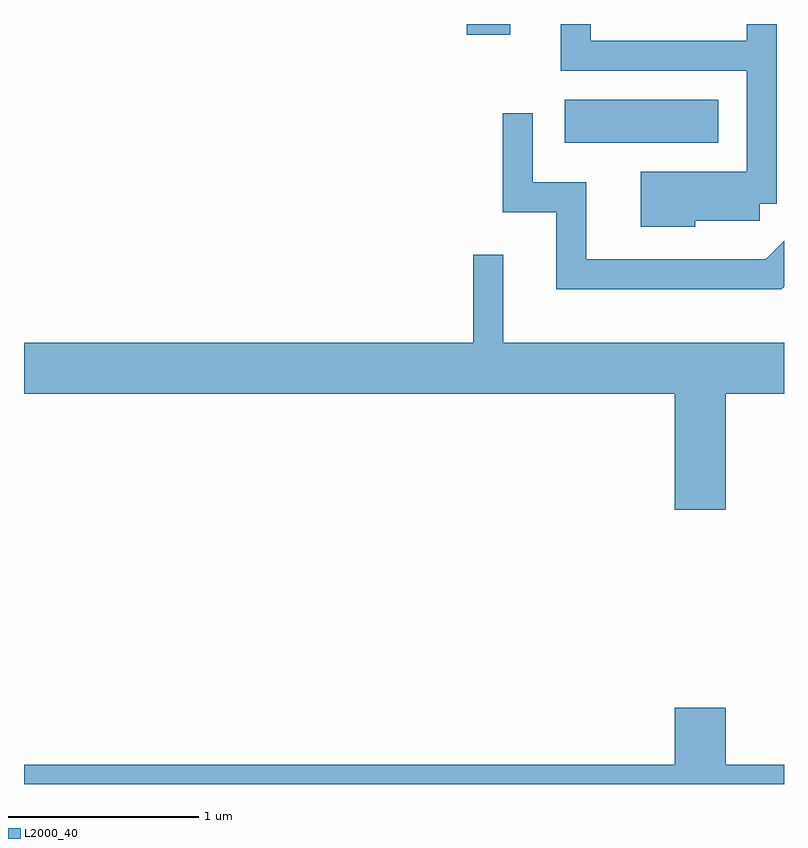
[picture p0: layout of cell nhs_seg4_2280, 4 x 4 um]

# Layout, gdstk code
import gdstk
lib = gdstk.Library(unit=1e-6, precision=1e-09)
def R(c, l, rs):  # rectangles x0, y0, x1, y1
    for r in rs: c.add(gdstk.rectangle(r[:2], r[2:], *l))
def P(c, l, *ps):  # polygons
    for p in ps: c.add(gdstk.Polygon(p, *l))
L2000_40 = (2000, 40)

nhs_seg4_2280 = lib.new_cell('nhs_seg4_2280')
R(nhs_seg4_2280, L2000_40, [(254.456,1329.356,255.264,1329.584), (253.941,1329.926,254.169,1329.982)])
P(nhs_seg4_2280, L2000_40, [(255.144,1328.946),(255.484,1328.946),(255.484,1329.036),(255.574,1329.036),(255.574,1329.982),(255.416,1329.982),(255.416,1329.894),(254.594,1329.894),(254.594,1329.982),(254.436,1329.982),(254.436,1329.736),(255.416,1329.736),(255.416,1329.204),(254.856,1329.204),(254.856,1328.916),(255.144,1328.916)],
  [(255.611,1328.6),(255.611,1328.841),(255.514,1328.744),(254.569,1328.744),(254.569,1329.149),(254.289,1329.149),(254.289,1329.513),(254.131,1329.513),(254.131,1328.991),(254.411,1328.991),(254.411,1328.586),(255.597,1328.586)],
  [(254.134,1328.768),(253.976,1328.768),(253.976,1328.304),(251.611,1328.304),(251.611,1328.036),(255.036,1328.036),(255.036,1327.426),(255.304,1327.426),(255.304,1328.036),(255.611,1328.036),(255.611,1328.304),(254.134,1328.304)],
  [(255.611,1326.084),(255.304,1326.084),(255.304,1326.384),(255.036,1326.384),(255.036,1326.084),(251.611,1326.084),(251.611,1325.982),(255.611,1325.982)])

lib.write_gds('nhs_seg4_2280.gds')
